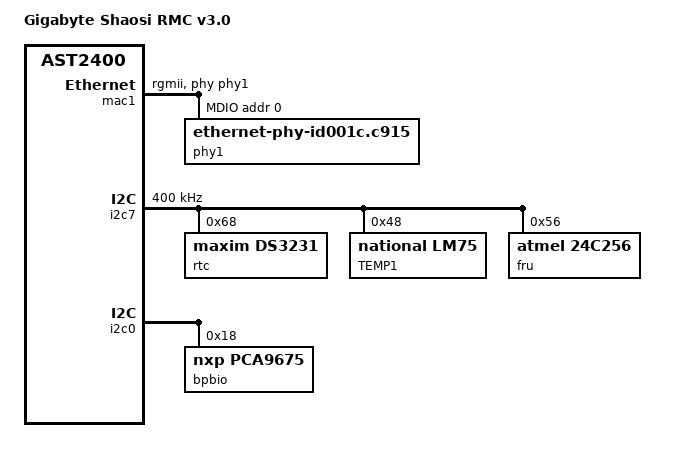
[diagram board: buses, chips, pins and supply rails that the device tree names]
/dts-v1/;
/plugin/;

#include <dt-bindings/gpio/gpio.h>
#include <dt-bindings/gpio/aspeed-gpio.h>

/ {
	compatible = "aspeed,ast2400";

	fragment@0 {
		target-path = "/";
		__overlay__ {
			model = "Gigabyte Shaosi RMC v3.0";
		};
	};

	fragment@1 {
		target = <&mac1>;
		__overlay__ {
			status = "okay";

	no-hw-checksum;

	phy-handle = <&phy1>;
	phy-mode = "rgmii";

	pinctrl-names = "default";
	pinctrl-0 = <&pinctrl_rgmii2_default &pinctrl_mdio2_default>;

	mdio {
		phy1: phy@0 {
			compatible = "ethernet-phy-id001c.c915";
			reg = <0>;
		};
			};
		};
	};

#if 0
	fragment@2 {
		target = <&i2c0>;
		__overlay__ {
			status = "okay";
			clock-frequency = <100000>;
			ipmb@1 {
				compatible = "i2c-ipmb";
				reg = <0x31>;
				slave-addr = <0x39>;
			};
		};
	};
#endif

	fragment@2 {
		target = <&i2c7>;
		__overlay__ {
			status = "okay";
			clock-frequency = <400000>;
			rtc@68 {
				compatible = "maxim,ds3231";
				reg = <0x68>;
				// interrupts = <GPIOF0>
			};

			tmp {
				label = "TEMP1";
				compatible = "national,lm75";
				reg = <0x48>;
			};
			fru {
				compatible = "atmel,24c256";
				reg = <0x56>;
				// pagesize = <32>;
			};
		};
	};
	fragment@3 {
		target = <&i2c0>;
		__overlay__ {
			status = "okay";
			bpbio: gpio-expander@18 {
				compatible = "nxp,pca9675";
				gpio-controller;
				#gpio-cells = <2>;
				reg = <0x18>;
				lines-initial-states = <0x1>;
				ngpios = <16>;
				gpio-line-names = "RST_I2C", "PS_ON", "PS_OK", "PS_PRSN", "PS_ALERT",
						  "RST_RMCA", "RST_RMCB", "NC_0_7", "RST_CB1", "RST_CB2",
						  "RST_CB3", "RST_CB4", "RST_CB5", "RST_CB6",
						  "NC_1_6", "NC_1_7";
			};
		};
	};

};
